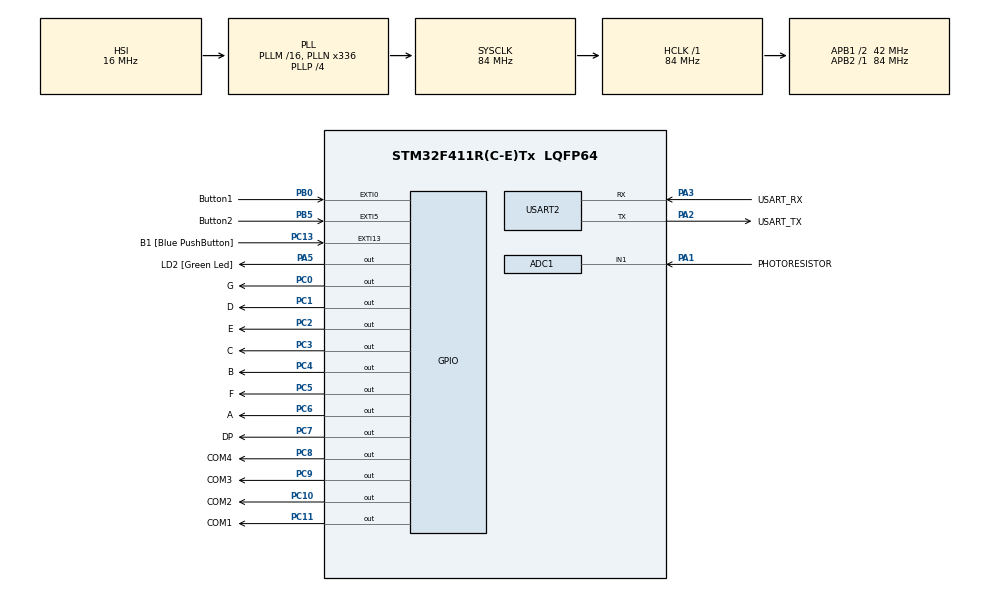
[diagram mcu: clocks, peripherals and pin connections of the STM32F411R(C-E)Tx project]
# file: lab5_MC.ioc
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ADC1.Channel-0\#ChannelRegularConversion=ADC_CHANNEL_1
ADC1.ContinuousConvMode=DISABLE
ADC1.NbrOfConversion=1
ADC1.NbrOfConversionFlag=1
ADC1.Rank-0\#ChannelRegularConversion=1
ADC1.SamplingTime-0\#ChannelRegularConversion=ADC_SAMPLETIME_480CYCLES
ADC1.master=1
Dma.Request0=USART2_RX
Dma.Request1=USART2_TX
Dma.USART2_RX.0.Direction=DMA_PERIPH_TO_MEMORY
Dma.USART2_RX.0.FIFOMode=DMA_FIFOMODE_DISABLE
Dma.USART2_RX.0.Instance=DMA1_Stream5
Dma.USART2_RX.0.MemDataAlignment=DMA_MDATAALIGN_BYTE
Dma.USART2_RX.0.MemInc=DMA_MINC_ENABLE
Dma.USART2_RX.0.Mode=DMA_NORMAL
Dma.USART2_RX.0.PeriphDataAlignment=DMA_PDATAALIGN_BYTE
Dma.USART2_RX.0.PeriphInc=DMA_PINC_DISABLE
Dma.USART2_RX.0.Priority=DMA_PRIORITY_LOW
Dma.USART2_TX.1.Direction=DMA_MEMORY_TO_PERIPH
Dma.USART2_TX.1.FIFOMode=DMA_FIFOMODE_DISABLE
Dma.USART2_TX.1.Instance=DMA1_Stream6
Dma.USART2_TX.1.MemDataAlignment=DMA_MDATAALIGN_BYTE
Dma.USART2_TX.1.MemInc=DMA_MINC_ENABLE
Dma.USART2_TX.1.Mode=DMA_NORMAL
Dma.USART2_TX.1.PeriphDataAlignment=DMA_PDATAALIGN_BYTE
Dma.USART2_TX.1.PeriphInc=DMA_PINC_DISABLE
Dma.USART2_TX.1.Priority=DMA_PRIORITY_LOW
Mcu.Family=STM32F4
Mcu.Name=STM32F411R(C-E)Tx
Mcu.Package=LQFP64
NVIC.ADC_IRQn=true\:0\:0\:false\:false\:true\:true\:true\:true
NVIC.DMA1_Stream5_IRQn=true\:0\:0\:false\:false\:true\:false\:true\:true
NVIC.DMA1_Stream6_IRQn=true\:0\:0\:false\:false\:true\:false\:true\:true
NVIC.EXTI0_IRQn=true\:0\:0\:false\:false\:true\:true\:true\:true
NVIC.EXTI9_5_IRQn=true\:0\:0\:false\:false\:true\:true\:true\:true
NVIC.PriorityGroup=NVIC_PRIORITYGROUP_0
NVIC.TIM1_TRG_COM_TIM11_IRQn=true\:0\:0\:false\:false\:true\:true\:true\:true
NVIC.TIM1_UP_TIM10_IRQn=true\:0\:0\:false\:false\:true\:true\:true\:true
NVIC.USART2_IRQn=true\:0\:0\:false\:false\:true\:true\:true\:true
PA1.GPIO_Label=PHOTORESISTOR
PA1.Signal=ADCx_IN1
PA13.GPIO_Label=TMS
PA13.Mode=Serial_Wire
PA13.Signal=SYS_JTMS-SWDIO
PA14.GPIO_Label=TCK
PA14.Mode=Serial_Wire
PA14.Signal=SYS_JTCK-SWCLK
PA2.GPIO_Label=USART_TX
PA2.Mode=Asynchronous
PA2.Signal=USART2_TX
PA3.GPIO_Label=USART_RX
PA3.Mode=Asynchronous
PA3.Signal=USART2_RX
PA5.GPIO_Label=LD2 [Green Led]
PA5.Signal=GPIO_Output
PB0.GPIO_Label=Button1
PB0.GPIO_ModeDefaultEXTI=GPIO_MODE_IT_FALLING
PB0.GPIO_PuPd=GPIO_PULLUP
PB0.Signal=GPXTI0
PB3.GPIO_Label=SWO
PB3.Signal=SYS_JTDO-SWO
PB5.GPIO_Label=Button2
PB5.GPIO_ModeDefaultEXTI=GPIO_MODE_IT_FALLING
PB5.GPIO_PuPd=GPIO_PULLUP
PB5.Signal=GPXTI5
PC0.GPIO_Label=G
PC0.Signal=GPIO_Output
PC1.GPIO_Label=D
PC1.Signal=GPIO_Output
PC10.GPIO_Label=COM2
PC10.Signal=GPIO_Output
PC11.GPIO_Label=COM1
PC11.Signal=GPIO_Output
PC13-ANTI_TAMP.GPIO_Label=B1 [Blue PushButton]
PC13-ANTI_TAMP.GPIO_ModeDefaultEXTI=GPIO_MODE_IT_FALLING
PC13-ANTI_TAMP.Signal=GPXTI13
PC14-OSC32_IN.Mode=LSE-External-Oscillator
PC14-OSC32_IN.Signal=RCC_OSC32_IN
PC15-OSC32_OUT.Mode=LSE-External-Oscillator
PC15-OSC32_OUT.Signal=RCC_OSC32_OUT
PC2.GPIO_Label=E
PC2.Signal=GPIO_Output
PC3.GPIO_Label=C
PC3.Signal=GPIO_Output
PC4.GPIO_Label=B
PC4.Signal=GPIO_Output
PC5.GPIO_Label=F
PC5.Signal=GPIO_Output
PC6.GPIO_Label=A
PC6.Signal=GPIO_Output
PC7.GPIO_Label=DP
PC7.Signal=GPIO_Output
PC8.GPIO_Label=COM4
PC8.Signal=GPIO_Output
PC9.GPIO_Label=COM3
PC9.Signal=GPIO_Output
PH0\ -\ OSC_IN.Mode=HSE-External-Clock-Source
PH0\ -\ OSC_IN.Signal=RCC_OSC_IN
PH1\ -\ OSC_OUT.Mode=HSE-External-Clock-Source
PH1\ -\ OSC_OUT.Signal=RCC_OSC_OUT
ProjectManager.HeapSize=0x200
ProjectManager.StackSize=0x400
ProjectManager.TargetToolchain=STM32CubeIDE
RCC.48MHZClocksFreq_Value=84000000
RCC.AHBFreq_Value=84000000
RCC.APB1CLKDivider=RCC_HCLK_DIV2
RCC.APB1Freq_Value=42000000
RCC.APB1TimFreq_Value=84000000
RCC.APB2Freq_Value=84000000
RCC.APB2TimFreq_Value=84000000
RCC.CortexFreq_Value=84000000
RCC.FLatency-AdvancedSettings=FLASH_LATENCY_2
RCC.HCLKFreq_Value=84000000
RCC.HSE_VALUE=8000000
RCC.HSI_VALUE=16000000
RCC.PLLN=336
RCC.PLLP=RCC_PLLP_DIV4
RCC.SYSCLKFreq_VALUE=84000000
RCC.SYSCLKSource=RCC_SYSCLKSOURCE_PLLCLK
RCC.VCOOutputFreq_Value=336000000
SH.ADCx_IN1.0=ADC1_IN1,IN1
TIM10.Period=999
TIM10.Prescaler=8399
TIM11.Period=50
TIM11.Prescaler=8399
USART2.VirtualMode=VM_ASYNC
VP_TIM10_VS_ClockSourceINT.Mode=Enable_Timer
VP_TIM11_VS_ClockSourceINT.Mode=Enable_Timer
board=NUCLEO-F411RE

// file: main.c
/* USER CODE BEGIN Header */
/**
  ******************************************************************************
  * @file           : main.c
  * @brief          : Main program body
  ******************************************************************************
  * @attention
  *
  * Copyright (c) 2023 STMicroelectronics.
  * All rights reserved.
  *
  * This software is licensed under terms that can be found in the LICENSE file
  * in the root directory of this software component.
  * If no LICENSE file comes with this software, it is provided AS-IS.
  *
  ******************************************************************************
  */
/* USER CODE END Header */
#include "main.h"

ADC_HandleTypeDef hadc1;

TIM_HandleTypeDef htim10;
TIM_HandleTypeDef htim11;

UART_HandleTypeDef huart2;
DMA_HandleTypeDef hdma_usart2_rx;
DMA_HandleTypeDef hdma_usart2_tx;

/* USER CODE BEGIN PV */
volatile uint8_t blink=1;
volatile uint16_t adc_value;

volatile uint8_t buf_tx[100];
volatile uint8_t buf_rx[100];
volatile uint8_t tx_cnt;
/* USER CODE END PV */

void SystemClock_Config(void);
static void MX_GPIO_Init(void);
static void MX_DMA_Init(void);
static void MX_USART2_UART_Init(void);
static void MX_TIM11_Init(void);
static void MX_ADC1_Init(void);
static void MX_TIM10_Init(void);
/* USER CODE BEGIN PFP */

void HAL_UART_RxCpltCallback(UART_HandleTypeDef *huart){
	if(huart->Instance == USART2){
	static int16_t x = 0;
	tx_cnt = snprintf((char*)buf_tx, sizeof(buf_tx), "Odebrano = %s counter %d \n", buf_rx, x ++);
	HAL_UART_Transmit_DMA(huart, buf_tx, tx_cnt);
	HAL_UART_Receive_DMA(huart, buf_rx, 2);
}
}

void HAL_TIM_PeriodElapsedCallback(TIM_HandleTypeDef *htim){

	if (htim-> Instance == TIM11){
		show_adc(adc_value);
	}
	else if(htim -> Instance == TIM10){
		HAL_ADC_Start_IT(&hadc1);
	}
}

 /*Funkcja przerwania ADC*/
void  HAL_ADC_ConvCpltCallback(ADC_HandleTypeDef *hadc){
	adc_value = HAL_ADC_GetValue(hadc);
}

// Funkcja wyświetlająca dany numer z przedziału 0-9
void display_num(num){
	switch(num){
	case 0:
		HAL_GPIO_WritePin(GPIOC, A_Pin, GPIO_PIN_SET);
		HAL_GPIO_WritePin(GPIOC, B_Pin, GPIO_PIN_SET);
		HAL_GPIO_WritePin(GPIOC, C_Pin, GPIO_PIN_SET);
		HAL_GPIO_WritePin(GPIOC, D_Pin, GPIO_PIN_SET);
		HAL_GPIO_WritePin(GPIOC, E_Pin, GPIO_PIN_SET);
		HAL_GPIO_WritePin(GPIOC, F_Pin, GPIO_PIN_SET);
		HAL_GPIO_WritePin(GPIOC, G_Pin, GPIO_PIN_RESET);
	break;

	case 1:
		HAL_GPIO_WritePin(GPIOC, A_Pin, GPIO_PIN_RESET);
		HAL_GPIO_WritePin(GPIOC, B_Pin, GPIO_PIN_SET);
		HAL_GPIO_WritePin(GPIOC, C_Pin, GPIO_PIN_SET);
		HAL_GPIO_WritePin(GPIOC, D_Pin, GPIO_PIN_RESET);
		HAL_GPIO_WritePin(GPIOC, E_Pin, GPIO_PIN_RESET);
		HAL_GPIO_WritePin(GPIOC, F_Pin, GPIO_PIN_RESET);
		HAL_GPIO_WritePin(GPIOC, G_Pin, GPIO_PIN_RESET);
	break;

	case 2:
		HAL_GPIO_WritePin(GPIOC, A_Pin, GPIO_PIN_SET);
		HAL_GPIO_WritePin(GPIOC, B_Pin, GPIO_PIN_SET);
		HAL_GPIO_WritePin(GPIOC, C_Pin, GPIO_PIN_RESET);
		HAL_GPIO_WritePin(GPIOC, D_Pin, GPIO_PIN_SET);
		HAL_GPIO_WritePin(GPIOC, E_Pin, GPIO_PIN_SET);
		HAL_GPIO_WritePin(GPIOC, F_Pin, GPIO_PIN_RESET);
		HAL_GPIO_WritePin(GPIOC, G_Pin, GPIO_PIN_SET);
	break;

	case 3:
		HAL_GPIO_WritePin(GPIOC, A_Pin, GPIO_PIN_SET);
		HAL_GPIO_WritePin(GPIOC, B_Pin, GPIO_PIN_SET);
		HAL_GPIO_WritePin(GPIOC, C_Pin, GPIO_PIN_SET);
		HAL_GPIO_WritePin(GPIOC, D_Pin, GPIO_PIN_SET);
		HAL_GPIO_WritePin(GPIOC, E_Pin, GPIO_PIN_RESET);
		HAL_GPIO_WritePin(GPIOC, F_Pin, GPIO_PIN_RESET);
		HAL_GPIO_WritePin(GPIOC, G_Pin, GPIO_PIN_SET);
	break;

	case 4:
		HAL_GPIO_WritePin(GPIOC, A_Pin, GPIO_PIN_RESET);
		HAL_GPIO_WritePin(GPIOC, B_Pin, GPIO_PIN_SET);
		HAL_GPIO_WritePin(GPIOC, C_Pin, GPIO_PIN_SET);
		HAL_GPIO_WritePin(GPIOC, D_Pin, GPIO_PIN_RESET);
		HAL_GPIO_WritePin(GPIOC, E_Pin, GPIO_PIN_RESET);
		HAL_GPIO_WritePin(GPIOC, F_Pin, GPIO_PIN_SET);
		HAL_GPIO_WritePin(GPIOC, G_Pin, GPIO_PIN_SET);
	break;

	case 5:
		HAL_GPIO_WritePin(GPIOC, A_Pin, GPIO_PIN_SET);
		HAL_GPIO_WritePin(GPIOC, B_Pin, GPIO_PIN_RESET);
		HAL_GPIO_WritePin(GPIOC, C_Pin, GPIO_PIN_SET);
		HAL_GPIO_WritePin(GPIOC, D_Pin, GPIO_PIN_SET);
		HAL_GPIO_WritePin(GPIOC, E_Pin, GPIO_PIN_RESET);
		HAL_GPIO_WritePin(GPIOC, F_Pin, GPIO_PIN_SET);
		HAL_GPIO_WritePin(GPIOC, G_Pin, GPIO_PIN_SET);
	break;

	case 6:
		HAL_GPIO_WritePin(GPIOC, A_Pin, GPIO_PIN_SET);
		HAL_GPIO_WritePin(GPIOC, B_Pin, GPIO_PIN_RESET);
		HAL_GPIO_WritePin(GPIOC, C_Pin, GPIO_PIN_SET);
		HAL_GPIO_WritePin(GPIOC, D_Pin, GPIO_PIN_SET);
		HAL_GPIO_WritePin(GPIOC, E_Pin, GPIO_PIN_SET);
		HAL_GPIO_WritePin(GPIOC, F_Pin, GPIO_PIN_SET);
		HAL_GPIO_WritePin(GPIOC, G_Pin, GPIO_PIN_SET);
	break;

	case 7:
		HAL_GPIO_WritePin(GPIOC, A_Pin, GPIO_PIN_SET);
		HAL_GPIO_WritePin(GPIOC, B_Pin, GPIO_PIN_SET);
		HAL_GPIO_WritePin(GPIOC, C_Pin, GPIO_PIN_SET);
		HAL_GPIO_WritePin(GPIOC, D_Pin, GPIO_PIN_RESET);
		HAL_GPIO_WritePin(GPIOC, E_Pin, GPIO_PIN_RESET);
		HAL_GPIO_WritePin(GPIOC, F_Pin, GPIO_PIN_RESET);
		HAL_GPIO_WritePin(GPIOC, G_Pin, GPIO_PIN_RESET);
	break;

	case 8:
		HAL_GPIO_WritePin(GPIOC, A_Pin, GPIO_PIN_SET);
		HAL_GPIO_WritePin(GPIOC, B_Pin, GPIO_PIN_SET);
		HAL_GPIO_WritePin(GPIOC, C_Pin, GPIO_PIN_SET);
		HAL_GPIO_WritePin(GPIOC, D_Pin, GPIO_PIN_SET);
		HAL_GPIO_WritePin(GPIOC, E_Pin, GPIO_PIN_SET);
		HAL_GPIO_WritePin(GPIOC, F_Pin, GPIO_PIN_SET);
		HAL_GPIO_WritePin(GPIOC, G_Pin, GPIO_PIN_SET);
	break;

	case 9:
		HAL_GPIO_WritePin(GPIOC, A_Pin, GPIO_PIN_SET);
		HAL_GPIO_WritePin(GPIOC, B_Pin, GPIO_PIN_SET);
		HAL_GPIO_WritePin(GPIOC, C_Pin, GPIO_PIN_SET);
		HAL_GPIO_WritePin(GPIOC, D_Pin, GPIO_PIN_SET);
		HAL_GPIO_WritePin(GPIOC, E_Pin, GPIO_PIN_RESET);
		HAL_GPIO_WritePin(GPIOC, F_Pin, GPIO_PIN_SET);
		HAL_GPIO_WritePin(GPIOC, G_Pin, GPIO_PIN_SET);
	break;

	default:
		break;
	}
}

//Resetowanie wszystkich wyświetlaczy
void resetCOMS(){
	HAL_GPIO_WritePin(GPIOC, COM1_Pin, GPIO_PIN_SET);
	HAL_GPIO_WritePin(GPIOC, COM2_Pin, GPIO_PIN_SET);
	HAL_GPIO_WritePin(GPIOC, COM3_Pin, GPIO_PIN_SET);
	HAL_GPIO_WritePin(GPIOC, COM4_Pin, GPIO_PIN_SET);
}

//Funkcja używana przy przerwaniach zewnętrznych - wyświetla podany numer na odpowiedniej liczbie wyświetlaczy
void show_adc(uint16_t number){
	uint8_t thousands,hundreds,tens,ones;

	thousands = (number/1000);
	hundreds = (number%1000)/100;
	tens = (number%100)/10;
	ones = (number%10);

	switch(blink){
	case 1:
		resetCOMS();
		HAL_GPIO_WritePin(GPIOC, COM1_Pin, GPIO_PIN_RESET);
		if (thousands>0){
			display_num(thousands);
		}
		else{
			HAL_GPIO_WritePin(GPIOC, COM1_Pin, GPIO_PIN_SET);
		}
		blink++;
		break;

	case 2:
		resetCOMS();
		HAL_GPIO_WritePin(GPIOC, COM2_Pin, GPIO_PIN_RESET);
		if (hundreds>0){
			display_num(hundreds);
		}

		else if (hundreds == 0 && thousands>0){
			display_num(hundreds);
		}
		else{
			HAL_GPIO_WritePin(GPIOC, COM2_Pin, GPIO_PIN_SET);
		}
		blink++;
		break;
	case 3:
		resetCOMS();
		HAL_GPIO_WritePin(GPIOC, COM3_Pin, GPIO_PIN_RESET);

		if (tens>0){
			display_num(tens);
		}
		else if (tens == 0 && (thousands>0 || hundreds>0)){
			display_num(tens);
		}
		else{
			HAL_GPIO_WritePin(GPIOC, COM3_Pin, GPIO_PIN_SET);
		}
		blink++;
		break;
	case 4:
		resetCOMS();
		HAL_GPIO_WritePin(GPIOC, COM4_Pin, GPIO_PIN_RESET);
		if (ones>=0){
			display_num(ones);
		}else{
			HAL_GPIO_WritePin(GPIOC, COM4_Pin, GPIO_PIN_SET);
		}
		blink = 1;
		break;
	default:
		break;
	}
}

/* USER CODE END PFP */

int main(void)
{

  /* MCU Configuration--------------------------------------------------------*/

  /* Reset of all peripherals, Initializes the Flash interface and the Systick. */
  HAL_Init();

  /* Configure the system clock */
  SystemClock_Config();

  /* Initialize all configured peripherals */
  MX_GPIO_Init();
  MX_DMA_Init();
  MX_USART2_UART_Init();
  MX_TIM11_Init();
  MX_ADC1_Init();
  MX_TIM10_Init();
  /* USER CODE BEGIN 2 */
//  HAL_TIM_Base_Start_IT(&htim11);
//  HAL_TIM_Base_Start_IT(&htim10);
//  HAL_ADC_Start_IT(&hadc1);

//  tx_cnt = snprintf(buf_tx, sizeof(buf_tx), "String1 = %d\n");
  HAL_UART_Receive_DMA(&huart2, buf_rx, 2);
  /* USER CODE END 2 */

  /* Infinite loop */
  while (1)
  {

  }
}

void SystemClock_Config(void)
{
  RCC_OscInitTypeDef RCC_OscInitStruct = {0};
  RCC_ClkInitTypeDef RCC_ClkInitStruct = {0};

  /** Configure the main internal regulator output voltage
  */
  __HAL_RCC_PWR_CLK_ENABLE();
  __HAL_PWR_VOLTAGESCALING_CONFIG(PWR_REGULATOR_VOLTAGE_SCALE1);

  /** Initializes the RCC Oscillators according to the specified parameters
  * in the RCC_OscInitTypeDef structure.
  */
  RCC_OscInitStruct.OscillatorType = RCC_OSCILLATORTYPE_HSI;
  RCC_OscInitStruct.HSIState = RCC_HSI_ON;
  RCC_OscInitStruct.HSICalibrationValue = RCC_HSICALIBRATION_DEFAULT;
  RCC_OscInitStruct.PLL.PLLState = RCC_PLL_ON;
  RCC_OscInitStruct.PLL.PLLSource = RCC_PLLSOURCE_HSI;
  RCC_OscInitStruct.PLL.PLLM = 16;
  RCC_OscInitStruct.PLL.PLLN = 336;
  RCC_OscInitStruct.PLL.PLLP = RCC_PLLP_DIV4;
  RCC_OscInitStruct.PLL.PLLQ = 4;
  if (HAL_RCC_OscConfig(&RCC_OscInitStruct) != HAL_OK)
  {
    Error_Handler();
  }

  /** Initializes the CPU, AHB and APB buses clocks
  */
  RCC_ClkInitStruct.ClockType = RCC_CLOCKTYPE_HCLK|RCC_CLOCKTYPE_SYSCLK
                              |RCC_CLOCKTYPE_PCLK1|RCC_CLOCKTYPE_PCLK2;
  RCC_ClkInitStruct.SYSCLKSource = RCC_SYSCLKSOURCE_PLLCLK;
  RCC_ClkInitStruct.AHBCLKDivider = RCC_SYSCLK_DIV1;
  RCC_ClkInitStruct.APB1CLKDivider = RCC_HCLK_DIV2;
  RCC_ClkInitStruct.APB2CLKDivider = RCC_HCLK_DIV1;

  if (HAL_RCC_ClockConfig(&RCC_ClkInitStruct, FLASH_LATENCY_2) != HAL_OK)
  {
    Error_Handler();
  }
}

static void MX_ADC1_Init(void)
{

  ADC_ChannelConfTypeDef sConfig = {0};

  /** Configure the global features of the ADC (Clock, Resolution, Data Alignment and number of conversion)
  */
  hadc1.Instance = ADC1;
  hadc1.Init.ClockPrescaler = ADC_CLOCK_SYNC_PCLK_DIV4;
  hadc1.Init.Resolution = ADC_RESOLUTION_12B;
  hadc1.Init.ScanConvMode = DISABLE;
  hadc1.Init.ContinuousConvMode = DISABLE;
  hadc1.Init.DiscontinuousConvMode = DISABLE;
  hadc1.Init.ExternalTrigConvEdge = ADC_EXTERNALTRIGCONVEDGE_NONE;
  hadc1.Init.ExternalTrigConv = ADC_SOFTWARE_START;
  hadc1.Init.DataAlign = ADC_DATAALIGN_RIGHT;
  hadc1.Init.NbrOfConversion = 1;
  hadc1.Init.DMAContinuousRequests = DISABLE;
  hadc1.Init.EOCSelection = ADC_EOC_SINGLE_CONV;
  if (HAL_ADC_Init(&hadc1) != HAL_OK)
  {
    Error_Handler();
  }

  /** Configure for the selected ADC regular channel its corresponding rank in the sequencer and its sample time.
  */
  sConfig.Channel = ADC_CHANNEL_1;
  sConfig.Rank = 1;
  sConfig.SamplingTime = ADC_SAMPLETIME_480CYCLES;
  if (HAL_ADC_ConfigChannel(&hadc1, &sConfig) != HAL_OK)
  {
    Error_Handler();
  }

}

static void MX_TIM10_Init(void)
{

  htim10.Instance = TIM10;
  htim10.Init.Prescaler = 8399;
  htim10.Init.CounterMode = TIM_COUNTERMODE_UP;
  htim10.Init.Period = 999;
  htim10.Init.ClockDivision = TIM_CLOCKDIVISION_DIV1;
  htim10.Init.AutoReloadPreload = TIM_AUTORELOAD_PRELOAD_DISABLE;
  if (HAL_TIM_Base_Init(&htim10) != HAL_OK)
  {
    Error_Handler();
  }

}

static void MX_TIM11_Init(void)
{

  htim11.Instance = TIM11;
  htim11.Init.Prescaler = 8399;
  htim11.Init.CounterMode = TIM_COUNTERMODE_UP;
  htim11.Init.Period = 50;
  htim11.Init.ClockDivision = TIM_CLOCKDIVISION_DIV1;
  htim11.Init.AutoReloadPreload = TIM_AUTORELOAD_PRELOAD_DISABLE;
  if (HAL_TIM_Base_Init(&htim11) != HAL_OK)
  {
    Error_Handler();
  }

}

static void MX_USART2_UART_Init(void)
{

  huart2.Instance = USART2;
  huart2.Init.BaudRate = 115200;
  huart2.Init.WordLength = UART_WORDLENGTH_8B;
  huart2.Init.StopBits = UART_STOPBITS_1;
  huart2.Init.Parity = UART_PARITY_NONE;
  huart2.Init.Mode = UART_MODE_TX_RX;
  huart2.Init.HwFlowCtl = UART_HWCONTROL_NONE;
  huart2.Init.OverSampling = UART_OVERSAMPLING_16;
  if (HAL_UART_Init(&huart2) != HAL_OK)
  {
    Error_Handler();
  }

}

static void MX_DMA_Init(void)
{

  /* DMA controller clock enable */
  __HAL_RCC_DMA1_CLK_ENABLE();

  /* DMA interrupt init */
  /* DMA1_Stream5_IRQn interrupt configuration */
  HAL_NVIC_SetPriority(DMA1_Stream5_IRQn, 0, 0);
  HAL_NVIC_EnableIRQ(DMA1_Stream5_IRQn);
  /* DMA1_Stream6_IRQn interrupt configuration */
  HAL_NVIC_SetPriority(DMA1_Stream6_IRQn, 0, 0);
  HAL_NVIC_EnableIRQ(DMA1_Stream6_IRQn);

}

static void MX_GPIO_Init(void)
{
  GPIO_InitTypeDef GPIO_InitStruct = {0};

  /* GPIO Ports Clock Enable */
  __HAL_RCC_GPIOC_CLK_ENABLE();
  __HAL_RCC_GPIOH_CLK_ENABLE();
  __HAL_RCC_GPIOA_CLK_ENABLE();
  __HAL_RCC_GPIOB_CLK_ENABLE();

  /*Configure GPIO pin Output Level */
  HAL_GPIO_WritePin(GPIOC, G_Pin|D_Pin|E_Pin|C_Pin
                          |B_Pin|F_Pin|A_Pin|DP_Pin
                          |COM4_Pin|COM3_Pin|COM2_Pin|COM1_Pin, GPIO_PIN_RESET);

  /*Configure GPIO pin Output Level */
  HAL_GPIO_WritePin(LD2_GPIO_Port, LD2_Pin, GPIO_PIN_RESET);

  /*Configure GPIO pin : B1_Pin */
  GPIO_InitStruct.Pin = B1_Pin;
  GPIO_InitStruct.Mode = GPIO_MODE_IT_FALLING;
  GPIO_InitStruct.Pull = GPIO_NOPULL;
  HAL_GPIO_Init(B1_GPIO_Port, &GPIO_InitStruct);

  /*Configure GPIO pins : G_Pin D_Pin E_Pin C_Pin
                           B_Pin F_Pin A_Pin DP_Pin
                           COM4_Pin COM3_Pin COM2_Pin COM1_Pin */
  GPIO_InitStruct.Pin = G_Pin|D_Pin|E_Pin|C_Pin
                          |B_Pin|F_Pin|A_Pin|DP_Pin
                          |COM4_Pin|COM3_Pin|COM2_Pin|COM1_Pin;
  GPIO_InitStruct.Mode = GPIO_MODE_OUTPUT_PP;
  GPIO_InitStruct.Pull = GPIO_NOPULL;
  GPIO_InitStruct.Speed = GPIO_SPEED_FREQ_LOW;
  HAL_GPIO_Init(GPIOC, &GPIO_InitStruct);

  /*Configure GPIO pin : LD2_Pin */
  GPIO_InitStruct.Pin = LD2_Pin;
  GPIO_InitStruct.Mode = GPIO_MODE_OUTPUT_PP;
  GPIO_InitStruct.Pull = GPIO_NOPULL;
  GPIO_InitStruct.Speed = GPIO_SPEED_FREQ_LOW;
  HAL_GPIO_Init(LD2_GPIO_Port, &GPIO_InitStruct);

  /*Configure GPIO pins : Button1_Pin Button2_Pin */
  GPIO_InitStruct.Pin = Button1_Pin|Button2_Pin;
  GPIO_InitStruct.Mode = GPIO_MODE_IT_FALLING;
  GPIO_InitStruct.Pull = GPIO_PULLUP;
  HAL_GPIO_Init(GPIOB, &GPIO_InitStruct);

  /* EXTI interrupt init*/
  HAL_NVIC_SetPriority(EXTI0_IRQn, 0, 0);
  HAL_NVIC_EnableIRQ(EXTI0_IRQn);

  HAL_NVIC_SetPriority(EXTI9_5_IRQn, 0, 0);
  HAL_NVIC_EnableIRQ(EXTI9_5_IRQn);

}

void Error_Handler(void)
{
  __disable_irq();
  while (1)
  {
  }
}
